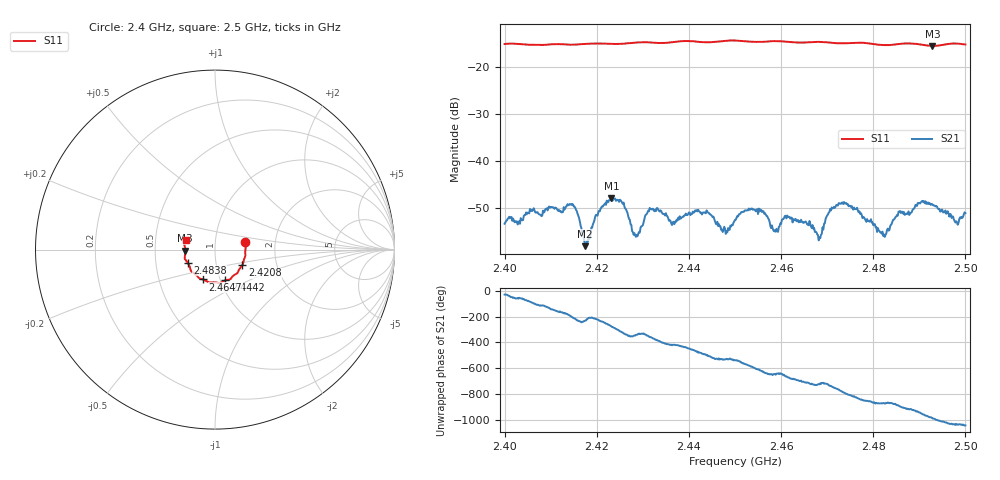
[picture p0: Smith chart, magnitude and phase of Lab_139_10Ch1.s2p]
# Hz S RI R 50
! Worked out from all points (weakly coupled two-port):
!   601 points, 2.4 GHz to 2.5 GHz, reference 50 ohm
!   highest |S21| = -47.81 dB at 2.4232 GHz (marker M1); lowest = -58.0 dB at 2.4175 GHz (marker M2)
!   lowest |S11| = -15.6 dB at 2.4928 GHz (marker M3), VSWR 1.40, Z = 35.8 - j0.387 ohm
!   |S11| at or under -10 dB: start of sweep to end of sweep
!   S12 and S22 are empty: the file has one direction only
!   S11 on the Smith chart (normalised r, x): 2.4 GHz: 1.40, +0.12; 2.4208 GHz: 1.33, -0.24; 2.4442 GHz: 1.05, -0.37; 2.4647 GHz: 0.83, -0.29; 2.4838 GHz: 0.73, -0.11; 2.5 GHz: 0.72, +0.08
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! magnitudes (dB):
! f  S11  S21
! 2.4 GHz  -15.2  -53.3
! 2.4143 GHz  -15.4  -49.2
! 2.4167 GHz  -15.3  -54.2
! 2.4175 GHz  -15.2  -58.0
! 2.4208 GHz  -15.1  -50.1
! 2.4232 GHz  -15.2  -47.8
! 2.4255 GHz  -15.2  -48.8
! 2.4285 GHz  -14.9  -56.0
! 2.4333 GHz  -15.0  -50.3
! 2.4367 GHz  -14.8  -52.8
! 2.4442 GHz  -14.9  -50.9
! 2.4478 GHz  -14.6  -54.4
! 2.45 GHz  -14.5  -52.5
! 2.4535 GHz  -14.7  -50.1
! 2.4647 GHz  -14.9  -52.9
! 2.4667 GHz  -14.8  -54.2
! 2.4683 GHz  -14.8  -56.2
! 2.4737 GHz  -15.1  -48.7
! 2.4833 GHz  -15.5  -54.7
! 2.4838 GHz  -15.4  -53.5
! 2.4928 GHz  -15.6  -49.2
! 2.5 GHz  -15.3  -51.0
